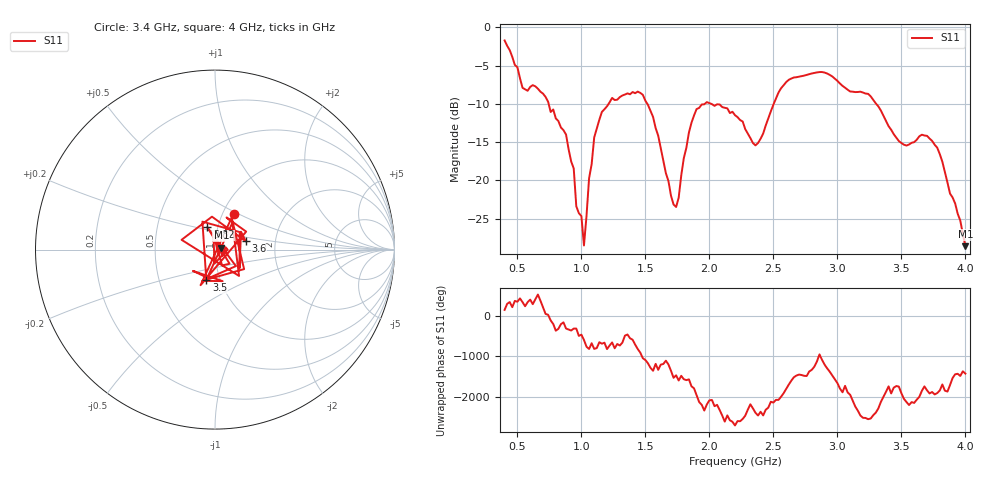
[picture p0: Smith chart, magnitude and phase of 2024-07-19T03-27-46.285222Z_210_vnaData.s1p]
!Created with skrf (http://scikit-rf.org).
# Hz S RI R 50.0
!freq ReS11 ImS11
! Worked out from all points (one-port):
!   181 points, 400 MHz to 4 GHz, reference 50 ohm
!   lowest |S11| = -28.6 dB at 4 GHz (marker M1), VSWR 1.08, Z = 53.7 + j1.14 ohm
!   |S11| at or under -10 dB: 744.1 MHz to 1.212 GHz (468.4 MHz wide, 47.9 % of centre); 2.015 GHz to 2.503 GHz (487.9 MHz wide, 21.6 % of centre); 3.303 GHz to end of sweep (the widest 3 of 4)
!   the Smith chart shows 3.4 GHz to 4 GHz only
!   S11 on the Smith chart (normalised r, x): 3.4 GHz: 1.12, +0.48; 3.5 GHz: 0.86, -0.30; 3.6 GHz: 1.41, +0.13; 3.82 GHz: 0.89, +0.23; 4 GHz: 1.07, +0.02
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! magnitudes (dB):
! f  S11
! 400 MHz  -1.7
! 540 MHz  -7.9
! 700 MHz  -8.7
! 860 MHz  -13.4
! 940 MHz  -18.4
! 960 MHz  -23.4
! 1 GHz  -24.7
! 1.02 GHz  -28.5
! 1.1 GHz  -14.4
! 1.3 GHz  -9.1
! 1.48 GHz  -8.8
! 1.56 GHz  -11.7
! 1.72 GHz  -23.2
! 1.76 GHz  -22.3
! 1.84 GHz  -13.8
! 1.9 GHz  -10.7
! 2.2 GHz  -11.5
! 2.36 GHz  -15.4
! 2.66 GHz  -6.5
! 3.1 GHz  -8.4
! 3.24 GHz  -8.7
! 3.4 GHz  -12.9
! 3.5 GHz  -15.1
! 3.56 GHz  -15.3
! 3.6 GHz  -15.0
! 3.7 GHz  -14.2
! 3.82 GHz  -17.6
! 4 GHz  -28.6
